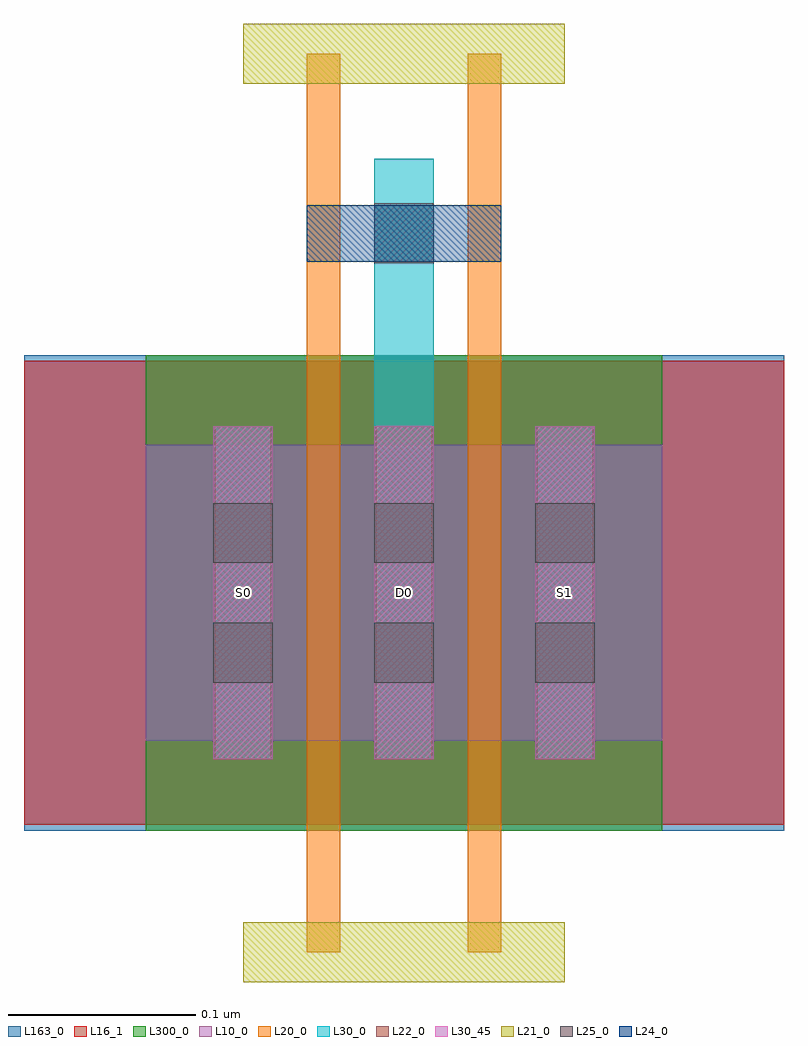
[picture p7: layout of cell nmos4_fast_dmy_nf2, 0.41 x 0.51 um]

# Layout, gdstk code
import gdstk
lib = gdstk.Library(unit=1e-6, precision=5e-10)
def R(c, l, rs):  # rectangles x0, y0, x1, y1
    for r in rs: c.add(gdstk.rectangle(r[:2], r[2:], *l))
def A(c, l, x, y, w, h, nx, ny, dx, dy):  # array of equal rectangles
    R(c, l, [(x+i*dx, y+j*dy, x+i*dx+w, y+j*dy+h) for i in range(nx) for j in range(ny)])
L10_0 = (10, 0)
L16_1 = (16, 1)
L20_0 = (20, 0)
L21_0 = (21, 0)
L22_0 = (22, 0)
L24_0 = (24, 0)
L25_0 = (25, 0)
L30_0 = (30, 0)
L30_45 = (30, 45)
L163_0 = (163, 0)
L300_0 = (300, 0)

n1lvt_cdns_548863453661 = lib.new_cell('n1lvt_CDNS_548863453661')
R(n1lvt_cdns_548863453661, L10_0, [(-0.086,0,0,0.158), (0,0,0.018,0.158), (0.018,0,0.104,0.158)])
R(n1lvt_cdns_548863453661, L16_1, [(-0.151,-0.045,0.169,0.203)])
R(n1lvt_cdns_548863453661, L20_0, [(0,-0.048,0.018,0), (0,0,0.018,0.158), (0,0.158,0.018,0.206)])
R(n1lvt_cdns_548863453661, L22_0, [(-0.049,-0.01,-0.019,0.168), (0.037,-0.01,0.067,0.168)])
R(n1lvt_cdns_548863453661, L163_0, [(-0.151,-0.048,0.169,0.206)])
R(n1lvt_cdns_548863453661, L300_0, [(-0.086,-0.048,0.104,0.206)])
n1lvt_cdns_548863453661.add(gdstk.Label('0.158/0.018', (0.009,0.0365), layer=63, texttype=0))
n1lvt_cdns_548863453661.add(gdstk.Label('[@instanceName]', (0.009,0.066), layer=63, texttype=0))

c__nmos4_fast_base_nf1 = lib.new_cell('_nmos4_fast_base_nf1')
R(c__nmos4_fast_base_nf1, L20_0, [(0.034,0,0.052,0.48)])
R(c__nmos4_fast_base_nf1, L21_0, [(0,-0.016,0.086,0.016), (0,0.464,0.086,0.496)])
c__nmos4_fast_base_nf1.add(gdstk.Reference(n1lvt_cdns_548863453661, (0.034,0.113)))

c__sd_base = lib.new_cell('_sd_base')
R(c__sd_base, L25_0, [(-0.016,0.144,0.016,0.176), (-0.016,0.208,0.016,0.24)])
R(c__sd_base, L30_0, [(-0.016,0.103,0.016,0.281)])

c__gate_dmy_base_nf2 = lib.new_cell('_gate_dmy_base_nf2')
R(c__gate_dmy_base_nf2, L24_0, [(0.034,0.369,0.138,0.399)])
R(c__gate_dmy_base_nf2, L25_0, [(0.07,0.368,0.102,0.4)])
R(c__gate_dmy_base_nf2, L30_0, [(0.07,0.281,0.102,0.424)])

nmos4_fast_dmy_nf2 = lib.new_cell('nmos4_fast_dmy_nf2')
A(nmos4_fast_dmy_nf2, L30_45, -0.016, 0.103, 0.032, 0.178, 3, 1, 0.086, 0)
nmos4_fast_dmy_nf2.add(gdstk.Reference(c__nmos4_fast_base_nf1, (0.086,0)))
nmos4_fast_dmy_nf2.add(gdstk.Reference(c__nmos4_fast_base_nf1, (0,0)))
nmos4_fast_dmy_nf2.add(gdstk.Reference(c__sd_base, (0.086,0)))
nmos4_fast_dmy_nf2.add(gdstk.Reference(c__sd_base, (0,0)))
nmos4_fast_dmy_nf2.add(gdstk.Reference(c__sd_base, (0.172,0)))
nmos4_fast_dmy_nf2.add(gdstk.Reference(c__gate_dmy_base_nf2, (0,0)))
nmos4_fast_dmy_nf2.add(gdstk.Label('D0', (0.086,0.192), layer=30, texttype=45))
nmos4_fast_dmy_nf2.add(gdstk.Label('S0', (0,0.192), layer=30, texttype=45))
nmos4_fast_dmy_nf2.add(gdstk.Label('S1', (0.172,0.192), layer=30, texttype=45))

lib.write_gds('nmos4_fast_dmy_nf2.gds')
